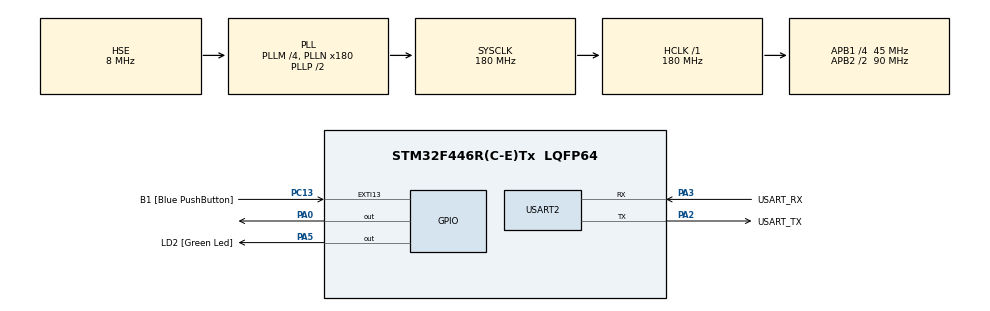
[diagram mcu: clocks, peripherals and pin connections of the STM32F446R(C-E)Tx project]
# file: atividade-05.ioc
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FREERTOS.Mutexes01=myMutex,Dynamic,NULL,Available
FREERTOS.Tasks01=Task01,24,128,StartTask01,Default,NULL,Dynamic,NULL,NULL;Task02,32,128,StartTask02,Default,NULL,Dynamic,NULL,NULL;Task03,24,128,StartTask03,Default,NULL,Dynamic,NULL,NULL
FREERTOS.configUSE_NEWLIB_REENTRANT=1
Mcu.Family=STM32F4
Mcu.Name=STM32F446R(C-E)Tx
Mcu.Package=LQFP64
NVIC.PriorityGroup=NVIC_PRIORITYGROUP_4
NVIC.TIM2_IRQn=true\:15\:0\:false\:false\:true\:false\:false\:true\:true
NVIC.TimeBase=TIM2_IRQn
NVIC.TimeBaseIP=TIM2
PA0-WKUP.Signal=GPIO_Output
PA13.GPIO_Label=TMS
PA13.Mode=Serial_Wire
PA13.Signal=SYS_JTMS-SWDIO
PA14.GPIO_Label=TCK
PA14.Mode=Serial_Wire
PA14.Signal=SYS_JTCK-SWCLK
PA2.GPIO_Label=USART_TX
PA2.Mode=Asynchronous
PA2.Signal=USART2_TX
PA3.GPIO_Label=USART_RX
PA3.Mode=Asynchronous
PA3.Signal=USART2_RX
PA5.GPIO_Label=LD2 [Green Led]
PA5.Signal=GPIO_Output
PB3.GPIO_Label=SWO
PB3.Signal=SYS_JTDO-SWO
PC13.GPIO_Label=B1 [Blue PushButton]
PC13.GPIO_ModeDefaultEXTI=GPIO_MODE_IT_FALLING
PC13.Signal=GPXTI13
PC14-OSC32_IN.Mode=LSE-External-Oscillator
PC14-OSC32_IN.Signal=RCC_OSC32_IN
PC15-OSC32_OUT.Mode=LSE-External-Oscillator
PC15-OSC32_OUT.Signal=RCC_OSC32_OUT
PH0-OSC_IN.Mode=HSE-External-Oscillator
PH0-OSC_IN.Signal=RCC_OSC_IN
PH1-OSC_OUT.Mode=HSE-External-Oscillator
PH1-OSC_OUT.Signal=RCC_OSC_OUT
ProjectManager.HeapSize=0x200
ProjectManager.StackSize=0x400
ProjectManager.TargetToolchain=STM32CubeIDE
RCC.48MHZClocksFreq_Value=84000000
RCC.AHBFreq_Value=180000000
RCC.APB1CLKDivider=RCC_HCLK_DIV4
RCC.APB1Freq_Value=45000000
RCC.APB1TimFreq_Value=90000000
RCC.APB2CLKDivider=RCC_HCLK_DIV2
RCC.APB2Freq_Value=90000000
RCC.APB2TimFreq_Value=180000000
RCC.CortexFreq_Value=180000000
RCC.FLatency-AdvancedSettings=FLASH_LATENCY_5
RCC.HCLKFreq_Value=180000000
RCC.HSE_VALUE=8000000
RCC.HSI_VALUE=16000000
RCC.PLLM=4
RCC.PLLN=180
RCC.PLLSourceVirtual=RCC_PLLSOURCE_HSE
RCC.SYSCLKFreq_VALUE=180000000
RCC.SYSCLKSource=RCC_SYSCLKSOURCE_PLLCLK
RCC.USBFreq_Value=180000000
RCC.VCOOutputFreq_Value=360000000
USART2.VirtualMode=VM_ASYNC
VP_FREERTOS_VS_CMSIS_V2.Mode=CMSIS_V2
VP_SYS_VS_tim2.Mode=TIM2
board=NUCLEO-F446RE

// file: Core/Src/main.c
/* USER CODE BEGIN Header */
/**
 ******************************************************************************
 * @file           : main.c
 * @brief          : Main program body
 ******************************************************************************
 * @attention
 *
 * Copyright (c) 2025 STMicroelectronics.
 * All rights reserved.
 *
 * This software is licensed under terms that can be found in the LICENSE file
 * in the root directory of this software component.
 * If no LICENSE file comes with this software, it is provided AS-IS.
 *
 ******************************************************************************
 */
/* USER CODE END Header */
#include "main.h"
#include "cmsis_os.h"

/* USER CODE BEGIN Includes */
#include <stdio.h>
#include <string.h>
/* USER CODE END Includes */

UART_HandleTypeDef huart2;

/* Definitions for Task01 */
osThreadId_t Task01Handle;
const osThreadAttr_t Task01_attributes = {
  .name = "Task01",
  .stack_size = 128 * 4,
  .priority = (osPriority_t) osPriorityNormal,
};
/* Definitions for Task02 */
osThreadId_t Task02Handle;
const osThreadAttr_t Task02_attributes = {
  .name = "Task02",
  .stack_size = 128 * 4,
  .priority = (osPriority_t) osPriorityAboveNormal,
};
/* Definitions for Task03 */
osThreadId_t Task03Handle;
const osThreadAttr_t Task03_attributes = {
  .name = "Task03",
  .stack_size = 128 * 4,
  .priority = (osPriority_t) osPriorityNormal,
};
/* Definitions for myMutex */
osMutexId_t myMutexHandle;
const osMutexAttr_t myMutex_attributes = {
  .name = "myMutex"
};
/* USER CODE BEGIN PV */
osThreadId_t donoMutex = NULL;
uint8_t ciclo_atual = 1;
char buffer[30];
uint8_t blocked_time = 0;
uint32_t tick_atual = 0;
uint32_t limit_time = 0;
uint8_t alert = 0;

/* USER CODE END PV */

void SystemClock_Config(void);
static void MX_GPIO_Init(void);
static void MX_USART2_UART_Init(void);
void StartTask01(void *argument);
void StartTask02(void *argument);
void StartTask03(void *argument);

int main(void)
{

  /* MCU Configuration--------------------------------------------------------*/

  /* Reset of all peripherals, Initializes the Flash interface and the Systick. */
  HAL_Init();

  /* Configure the system clock */
  SystemClock_Config();

  /* Initialize all configured peripherals */
  MX_GPIO_Init();
  MX_USART2_UART_Init();

  /* Init scheduler */
  osKernelInitialize();
  /* Create the mutex(es) */
  /* creation of myMutex */
  myMutexHandle = osMutexNew(&myMutex_attributes);

  /* Create the thread(s) */
  /* creation of Task01 */
  Task01Handle = osThreadNew(StartTask01, NULL, &Task01_attributes);

  /* creation of Task02 */
  Task02Handle = osThreadNew(StartTask02, NULL, &Task02_attributes);

  /* creation of Task03 */
  Task03Handle = osThreadNew(StartTask03, NULL, &Task03_attributes);

  /* Start scheduler */
  osKernelStart();

  /* We should never get here as control is now taken by the scheduler */

  /* Infinite loop */
	while (1) {

	}
}

void SystemClock_Config(void)
{
  RCC_OscInitTypeDef RCC_OscInitStruct = {0};
  RCC_ClkInitTypeDef RCC_ClkInitStruct = {0};

  /** Configure the main internal regulator output voltage
  */
  __HAL_RCC_PWR_CLK_ENABLE();
  __HAL_PWR_VOLTAGESCALING_CONFIG(PWR_REGULATOR_VOLTAGE_SCALE1);

  /** Initializes the RCC Oscillators according to the specified parameters
  * in the RCC_OscInitTypeDef structure.
  */
  RCC_OscInitStruct.OscillatorType = RCC_OSCILLATORTYPE_HSE;
  RCC_OscInitStruct.HSEState = RCC_HSE_ON;
  RCC_OscInitStruct.PLL.PLLState = RCC_PLL_ON;
  RCC_OscInitStruct.PLL.PLLSource = RCC_PLLSOURCE_HSE;
  RCC_OscInitStruct.PLL.PLLM = 4;
  RCC_OscInitStruct.PLL.PLLN = 180;
  RCC_OscInitStruct.PLL.PLLP = RCC_PLLP_DIV2;
  RCC_OscInitStruct.PLL.PLLQ = 2;
  RCC_OscInitStruct.PLL.PLLR = 2;
  if (HAL_RCC_OscConfig(&RCC_OscInitStruct) != HAL_OK)
  {
    Error_Handler();
  }

  /** Activate the Over-Drive mode
  */
  if (HAL_PWREx_EnableOverDrive() != HAL_OK)
  {
    Error_Handler();
  }

  /** Initializes the CPU, AHB and APB buses clocks
  */
  RCC_ClkInitStruct.ClockType = RCC_CLOCKTYPE_HCLK|RCC_CLOCKTYPE_SYSCLK
                              |RCC_CLOCKTYPE_PCLK1|RCC_CLOCKTYPE_PCLK2;
  RCC_ClkInitStruct.SYSCLKSource = RCC_SYSCLKSOURCE_PLLCLK;
  RCC_ClkInitStruct.AHBCLKDivider = RCC_SYSCLK_DIV1;
  RCC_ClkInitStruct.APB1CLKDivider = RCC_HCLK_DIV4;
  RCC_ClkInitStruct.APB2CLKDivider = RCC_HCLK_DIV2;

  if (HAL_RCC_ClockConfig(&RCC_ClkInitStruct, FLASH_LATENCY_5) != HAL_OK)
  {
    Error_Handler();
  }
}

static void MX_USART2_UART_Init(void)
{

  huart2.Instance = USART2;
  huart2.Init.BaudRate = 115200;
  huart2.Init.WordLength = UART_WORDLENGTH_8B;
  huart2.Init.StopBits = UART_STOPBITS_1;
  huart2.Init.Parity = UART_PARITY_NONE;
  huart2.Init.Mode = UART_MODE_TX_RX;
  huart2.Init.HwFlowCtl = UART_HWCONTROL_NONE;
  huart2.Init.OverSampling = UART_OVERSAMPLING_16;
  if (HAL_UART_Init(&huart2) != HAL_OK)
  {
    Error_Handler();
  }

}

static void MX_GPIO_Init(void)
{
  GPIO_InitTypeDef GPIO_InitStruct = {0};

  /* GPIO Ports Clock Enable */
  __HAL_RCC_GPIOC_CLK_ENABLE();
  __HAL_RCC_GPIOH_CLK_ENABLE();
  __HAL_RCC_GPIOA_CLK_ENABLE();
  __HAL_RCC_GPIOB_CLK_ENABLE();

  /*Configure GPIO pin Output Level */
  HAL_GPIO_WritePin(GPIOA, GPIO_PIN_0|LD2_Pin, GPIO_PIN_RESET);

  /*Configure GPIO pin : B1_Pin */
  GPIO_InitStruct.Pin = B1_Pin;
  GPIO_InitStruct.Mode = GPIO_MODE_IT_FALLING;
  GPIO_InitStruct.Pull = GPIO_NOPULL;
  HAL_GPIO_Init(B1_GPIO_Port, &GPIO_InitStruct);

  /*Configure GPIO pins : PA0 LD2_Pin */
  GPIO_InitStruct.Pin = GPIO_PIN_0|LD2_Pin;
  GPIO_InitStruct.Mode = GPIO_MODE_OUTPUT_PP;
  GPIO_InitStruct.Pull = GPIO_NOPULL;
  GPIO_InitStruct.Speed = GPIO_SPEED_FREQ_LOW;
  HAL_GPIO_Init(GPIOA, &GPIO_InitStruct);

}

void StartTask01(void *argument)
{
  /* USER CODE BEGIN 5 */
	/* Infinite loop */
	for (;;) {
		if ((osMutexAcquire(myMutexHandle, osWaitForever) == osOK)) {
			donoMutex = osThreadGetId();

			HAL_UART_Transmit(&huart2, (uint8_t*) "task01: usando a serial\n",
					strlen("task01: usando a serial\n"), 10);

			osMutexRelease(myMutexHandle);
		}

		osDelay(1000);
	}
  /* USER CODE END 5 */
}

void StartTask02(void *argument)
{
  /* USER CODE BEGIN StartTask02 */
	/* Infinite loop */
	for (;;) {
		if ((osMutexAcquire(myMutexHandle, 0) == osOK)
				|| donoMutex == Task02Handle) {

			donoMutex = osThreadGetId();

			int len = snprintf(buffer, sizeof(buffer),
					"task02 - ciclo atual: %d\n", ciclo_atual++);

			HAL_UART_Transmit(&huart2, (uint8_t*) buffer, len, 10);

			HAL_GPIO_TogglePin(GPIOA, LD2_Pin);
			osDelay(500);

			if (ciclo_atual > 3) {
				ciclo_atual = 1;

				HAL_UART_Transmit(&huart2,
						(uint8_t*) "task02: liberando mutex...\n",
						strlen("task02: liberando mutex...\n"), 10);

				osMutexRelease(myMutexHandle);
			}

			HAL_GPIO_TogglePin(GPIOA, LD2_Pin);
		}

		osDelay(500);
	}
  /* USER CODE END StartTask02 */
}

void StartTask03(void *argument)
{
  /* USER CODE BEGIN StartTask03 */
	/* Infinite loop */
	for (;;) {
		for (;;) {
			tick_atual = osKernelGetTickCount();
			limit_time = tick_atual + 2000;

			while ((osMutexAcquire(myMutexHandle, 0) != osOK)) {
				tick_atual = osKernelGetTickCount();

				if (tick_atual >= limit_time && !alert) {
					HAL_UART_Transmit(&huart2,
							(uint8_t*) "task03: tempo de espera excedido\n",
							strlen("task03: tempo de espera excedido\n"), 10);

					HAL_GPIO_WritePin(GPIOA, GPIO_PIN_0, GPIO_PIN_SET);

					alert = 1;
				}
			}

			HAL_GPIO_WritePin(GPIOA, GPIO_PIN_0, GPIO_PIN_RESET);

			donoMutex = osThreadGetId();

			osMutexRelease(myMutexHandle);

			alert = 0;

			osDelay(1000);
		}
	}
  /* USER CODE END StartTask03 */
}

void HAL_TIM_PeriodElapsedCallback(TIM_HandleTypeDef *htim)
{
  if (htim->Instance == TIM2)
  {
    HAL_IncTick();
  }
}

void Error_Handler(void)
{
	__disable_irq();
	while (1) {
	}
}
